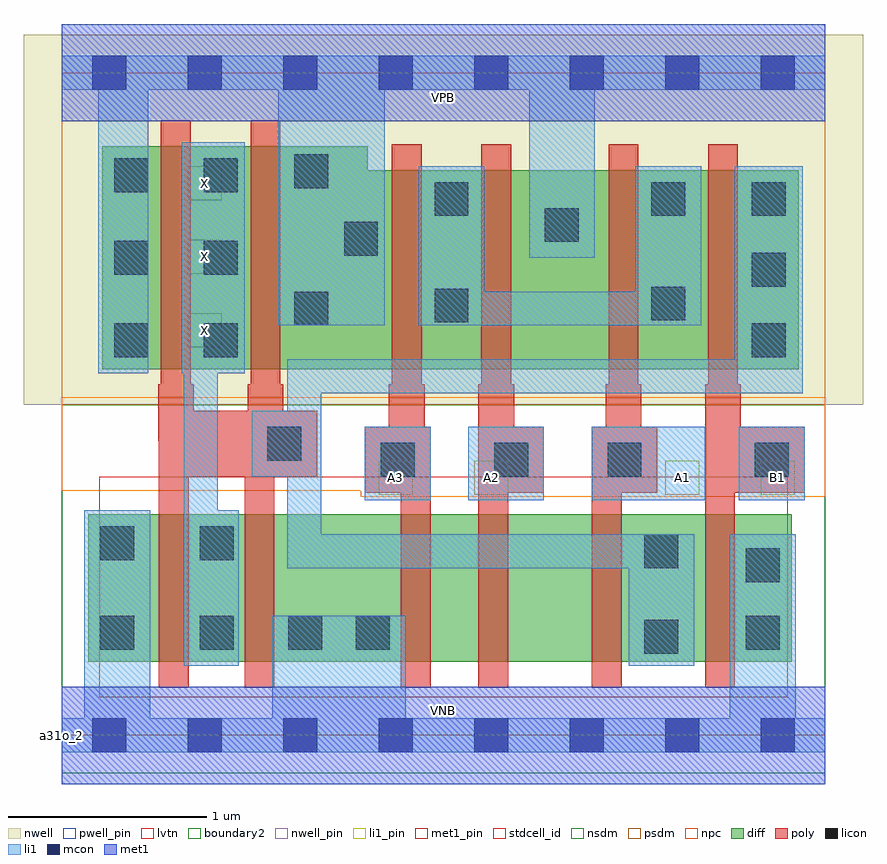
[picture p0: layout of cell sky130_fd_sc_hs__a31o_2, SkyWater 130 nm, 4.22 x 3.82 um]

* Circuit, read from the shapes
.subckt sky130_fd_sc_hs__a31o_2 A1 A2 A3 B1 VGND VNB VPB VPWR X
XM1 X n1 VGND VNB sky130_fd_pr__nfet_01v8_lvt w=0.74 l=0.15 m=2
XM2 n2 A3 VGND VNB sky130_fd_pr__nfet_01v8_lvt w=0.74 l=0.15
XM3 n3 A2 n2 VNB sky130_fd_pr__nfet_01v8_lvt w=0.74 l=0.15
XM4 n1 A1 n3 VNB sky130_fd_pr__nfet_01v8_lvt w=0.74 l=0.15
XM5 VGND B1 n1 VNB sky130_fd_pr__nfet_01v8_lvt w=0.74 l=0.15
XM6 X n1 VPWR VPB sky130_fd_pr__pfet_01v8 w=1.12 l=0.15 m=2
XM7 n4 A3 VPWR VPB sky130_fd_pr__pfet_01v8 w=1 l=0.15
XM8 VPWR A2 n4 VPB sky130_fd_pr__pfet_01v8 w=1 l=0.15
XM9 n4 A1 VPWR VPB sky130_fd_pr__pfet_01v8 w=1 l=0.15
XM10 n1 B1 n4 VPB sky130_fd_pr__pfet_01v8 w=1 l=0.15
.ends

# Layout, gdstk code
import gdstk
lib = gdstk.Library(unit=1e-6, precision=1e-09)
def R(c, l, rs):  # rectangles x0, y0, x1, y1
    for r in rs: c.add(gdstk.rectangle(r[:2], r[2:], *l))
def A(c, l, x, y, w, h, nx, ny, dx, dy):  # array of equal rectangles
    R(c, l, [(x+i*dx, y+j*dy, x+i*dx+w, y+j*dy+h) for i in range(nx) for j in range(ny)])
def P(c, l, *ps):  # polygons
    for p in ps: c.add(gdstk.Polygon(p, *l))
nwell_pin = (64, 16)
nwell = (64, 20)
diff = (65, 20)
poly = (66, 20)
licon = (66, 44)
li1_pin = (67, 16)
li1 = (67, 20)
mcon = (67, 44)
met1_pin = (68, 16)
met1 = (68, 20)
stdcell_id = (81, 4)
nsdm = (93, 44)
psdm = (94, 20)
npc = (95, 20)
pwell_pin = (122, 16)
lvtn = (125, 44)
boundary2 = (236, 0)

sky130_fd_sc_hs__a31o_2 = lib.new_cell('sky130_fd_sc_hs__a31o_2')
R(sky130_fd_sc_hs__a31o_2, nwell_pin, [(0,3.085,3.84,3.33)])
R(sky130_fd_sc_hs__a31o_2, nwell, [(-0.19,1.66,4.03,3.52)])
R(sky130_fd_sc_hs__a31o_2, diff, [(0.135,0.37,3.67,1.11)])
P(sky130_fd_sc_hs__a31o_2, diff, [(3.705,2.84),(1.54,2.84),(1.54,2.96),(0.205,2.96),(0.205,1.84),(3.705,1.84)])
P(sky130_fd_sc_hs__a31o_2, poly, [(2.425,1.55),(2.275,1.55),(2.275,1.765),(2.26,1.765),(2.26,2.97),(2.11,2.97),(2.11,1.765),(2.095,1.765),(2.095,0.24),(2.245,0.24),(2.245,1.22),(2.425,1.22)],
  [(1.855,1.55),(1.825,1.55),(1.825,1.765),(1.81,1.765),(1.81,2.97),(1.66,2.97),(1.66,1.765),(1.645,1.765),(1.645,1.55),(1.525,1.55),(1.525,1.22),(1.705,1.22),(1.705,0.24),(1.855,0.24)],
  [(1.285,1.63),(1.115,1.63),(1.115,1.765),(1.1,1.765),(1.1,3.09),(0.95,3.09),(0.95,1.765),(0.935,1.765),(0.935,1.63),(0.665,1.63),(0.665,1.765),(0.65,1.765),(0.65,3.09),(0.5,3.09),(0.5,1.765),(0.485,1.765),(0.485,1.48),(0.49,1.48),(0.49,0.24),(0.64,0.24),(0.64,1.3),(0.92,1.3),(0.92,0.24),(1.07,0.24),(1.07,1.3),(1.285,1.3)],
  [(2.995,1.55),(2.915,1.55),(2.915,1.765),(2.9,1.765),(2.9,2.97),(2.75,2.97),(2.75,1.765),(2.735,1.765),(2.735,1.55),(2.665,1.55),(2.665,0.24),(2.815,0.24),(2.815,1.22),(2.995,1.22)],
  [(3.735,1.55),(3.415,1.55),(3.415,1.765),(3.4,1.765),(3.4,2.97),(3.25,2.97),(3.25,1.765),(3.235,1.765),(3.235,0.24),(3.385,0.24),(3.385,1.22),(3.735,1.22)])
A(sky130_fd_sc_hs__a31o_2, licon, 1.605, 1.3, 0.17, 0.17, 3, 1, 0.57, 0)
A(sky130_fd_sc_hs__a31o_2, licon, 0.265, 1.9, 0.17, 0.17, 1, 3, 0, 0.415)
A(sky130_fd_sc_hs__a31o_2, licon, 0.715, 1.9, 0.17, 0.17, 1, 3, 0, 0.415)
A(sky130_fd_sc_hs__a31o_2, licon, 3.47, 1.9, 0.17, 0.17, 1, 3, 0, 0.355)
R(sky130_fd_sc_hs__a31o_2, licon, [(2.93,0.41,3.1,0.58), (0.195,0.43,0.365,0.6), (0.695,0.43,0.865,0.6), (1.14,0.43,1.31,0.6), (1.48,0.43,1.65,0.6), (3.44,0.43,3.61,0.6), (3.44,0.77,3.61,0.94), (2.93,0.84,3.1,1.01), (0.195,0.88,0.365,1.05), (0.695,0.88,0.865,1.05), (3.485,1.3,3.655,1.47), (1.035,1.38,1.205,1.55), (1.17,2.06,1.34,2.23), (1.875,2.075,2.045,2.245), (2.965,2.085,3.135,2.255), (1.42,2.41,1.59,2.58), (2.43,2.48,2.6,2.65), (1.875,2.61,2.045,2.78), (2.965,2.61,3.135,2.78), (1.17,2.75,1.34,2.92)])
A(sky130_fd_sc_hs__a31o_2, li1_pin, 0.635, 1.95, 0.17, 0.17, 1, 3, 0, 0.37)
R(sky130_fd_sc_hs__a31o_2, li1_pin, [(1.595,1.21,1.765,1.38), (2.075,1.21,2.245,1.38), (3.035,1.21,3.205,1.38), (3.515,1.21,3.685,1.38)])
R(sky130_fd_sc_hs__a31o_2, li1, [(1.525,1.18,1.855,1.55), (2.045,1.18,2.425,1.55), (2.665,1.18,3.235,1.55), (3.405,1.18,3.735,1.55)])
P(sky130_fd_sc_hs__a31o_2, li1, [(0,-0.085),(0,0.085),(0.115,0.085),(0.115,1.13),(0.445,1.13),(0.445,0.085),(1.06,0.085),(1.06,0.6),(1.73,0.6),(1.73,0.085),(3.36,0.085),(3.36,1.01),(3.69,1.01),(3.69,0.085),(3.84,0.085),(3.84,-0.085)],
  [(0,3.245),(0,3.415),(3.84,3.415),(3.84,3.245),(2.68,3.245),(2.68,2.4),(2.35,2.4),(2.35,3.245),(1.625,3.245),(1.625,2.06),(1.09,2.06),(1.09,3.245),(0.435,3.245),(0.435,1.82),(0.185,1.82),(0.185,3.245)],
  [(0.605,1.82),(0.605,2.98),(0.92,2.98),(0.92,1.82),(0.785,1.82),(0.785,1.13),(0.89,1.13),(0.89,0.35),(0.615,0.35),(0.615,1.82)],
  [(2.125,2.23),(2.885,2.23),(2.885,2.86),(3.215,2.86),(3.215,2.06),(1.795,2.06),(1.795,2.86),(2.125,2.86)],
  [(1.135,0.84),(1.135,1.3),(0.955,1.3),(0.955,1.63),(1.135,1.63),(1.135,1.89),(3.385,1.89),(3.385,2.86),(3.725,2.86),(3.725,1.72),(1.305,1.72),(1.305,1.01),(3.18,1.01),(3.18,0.35),(2.85,0.35),(2.85,0.84)])
A(sky130_fd_sc_hs__a31o_2, mcon, 0.155, -0.085, 0.17, 0.17, 8, 2, 0.48, 3.33)
R(sky130_fd_sc_hs__a31o_2, met1_pin, [(0,0,3.84,0.245), (0,3.085,3.84,3.33)])
R(sky130_fd_sc_hs__a31o_2, met1, [(0,-0.245,3.84,0.245), (0,3.085,3.84,3.575)])
R(sky130_fd_sc_hs__a31o_2, stdcell_id, [(0,0,3.84,3.33)])
R(sky130_fd_sc_hs__a31o_2, nsdm, [(0,-0.19,3.84,1.66)])
R(sky130_fd_sc_hs__a31o_2, psdm, [(0,1.66,3.84,3.52)])
P(sky130_fd_sc_hs__a31o_2, npc, [(3.84,1.7),(0,1.7),(0,1.23),(1.505,1.23),(1.505,1.2),(3.84,1.2)])
R(sky130_fd_sc_hs__a31o_2, pwell_pin, [(0,0,3.84,0.245)])
R(sky130_fd_sc_hs__a31o_2, lvtn, [(0.19,0.19,3.65,1.3)])
R(sky130_fd_sc_hs__a31o_2, boundary2, [(0,0,3.84,3.33)])
sky130_fd_sc_hs__a31o_2.add(gdstk.Label('a31o_2', (0,0), layer=83, texttype=44))
sky130_fd_sc_hs__a31o_2.add(gdstk.Label('VNB', (1.92,0.123), layer=64, texttype=59))
sky130_fd_sc_hs__a31o_2.add(gdstk.Label('VPB', (1.92,3.208), layer=64, texttype=5))
sky130_fd_sc_hs__a31o_2.add(gdstk.Label('VPWR', (1.92,3.208), layer=68, texttype=5))
sky130_fd_sc_hs__a31o_2.add(gdstk.Label('VGND', (1.92,0.123), layer=68, texttype=5))
sky130_fd_sc_hs__a31o_2.add(gdstk.Label('A1', (3.12,1.295), layer=67, texttype=5))
sky130_fd_sc_hs__a31o_2.add(gdstk.Label('A2', (2.16,1.295), layer=67, texttype=5))
sky130_fd_sc_hs__a31o_2.add(gdstk.Label('A3', (1.68,1.295), layer=67, texttype=5))
sky130_fd_sc_hs__a31o_2.add(gdstk.Label('B1', (3.6,1.295), layer=67, texttype=5))
sky130_fd_sc_hs__a31o_2.add(gdstk.Label('X', (0.72,2.035), layer=67, texttype=5))
sky130_fd_sc_hs__a31o_2.add(gdstk.Label('X', (0.72,2.405), layer=67, texttype=5))
sky130_fd_sc_hs__a31o_2.add(gdstk.Label('X', (0.72,2.775), layer=67, texttype=5))

lib.write_gds('sky130_fd_sc_hs__a31o_2.gds')
